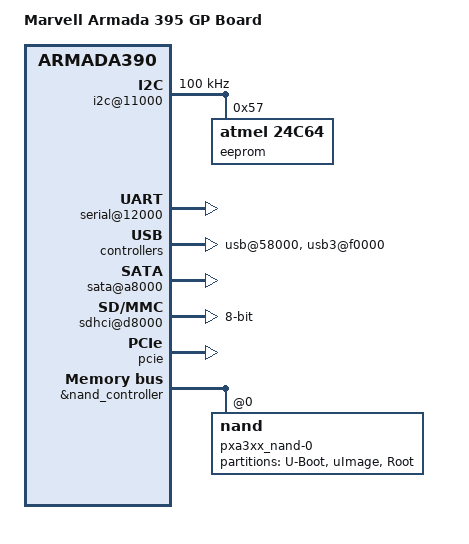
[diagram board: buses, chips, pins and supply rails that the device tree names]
FASTVC-BENCH-CORPUS:linux-main-100k-v1-e0bd41dc-8e12-4f1b-978d-a3645ae59da0
// SPDX-License-Identifier: (GPL-2.0 OR MIT)
/*
 * Device Tree file for Marvell Armada 395 GP board
 *
 * Copyright (C) 2016 Marvell
 *
 * Grzegorz Jaszczyk <jaz@semihalf.com>
 */

/dts-v1/;
#include "armada-395.dtsi"

/ {
	model = "Marvell Armada 395 GP Board";
	compatible = "marvell,a395-gp", "marvell,armada395",
		     "marvell,armada390";

	chosen {
		stdout-path = "serial0:115200n8";
	};

/* bench 24060.2.0 c18fa5d8266e */
/* bench 24060.2.1 da0b421e740b */
/* bench 24060.2.2 c35db9e31e77 */
/* bench 24060.2.3 066f971952f2 */
/* bench 24060.2.4 0e6f270f9b7a */
/* bench 24060.2.5 3cdbcbc167a8 */
/* bench 24060.2.6 3abd03d88fc7 */
/* bench 24060.2.7 7cf4d230aaf1 */
/* bench 24060.2.8 2bfc61ccae8d */
		device_type = "memory";
		reg = <0x00000000 0x40000000>; /* 1 GB */
	};

	soc {
		ranges = <MBUS_ID(0xf0, 0x01) 0 0xf1000000 0x100000
			  MBUS_ID(0x01, 0x1d) 0 0xfff00000 0x100000>;

		internal-regs {
			i2c@11000 {
				status = "okay";
				clock-frequency = <100000>;

				eeprom@57 {
					compatible = "atmel,24c64";
					reg = <0x57>;
				};
			};

			serial@12000 {
				/*
				 * Exported on the micro USB connector CON17
				 * through an FTDI
				 */
				status = "okay";
			};

			/* CON1 */
			usb@58000 {
				status = "okay";
			};

			/* CON2 */
			sata@a8000 {
				status = "okay";
			};

			/* CON18 */
			sdhci@d8000 {
				clock-frequency = <200000000>;
				broken-cd;
				wp-inverted;
				bus-width = <8>;
				status = "okay";
				no-1-8-v;
			};

			/* CON4 */
			usb3@f0000 {
				status = "okay";
			};
		};

		pcie {
			status = "okay";

			/*
			 * The two PCIe units are accessible through
			 * mini PCIe slot on the board.
			 */

			/* CON7 */
			pcie@2,0 {
				/* Port 1, Lane 0 */
				status = "okay";
			};

			/* CON8 */
			pcie@4,0 {
				/* Port 3, Lane 0 */
				status = "okay";
			};
		};
/* bench 6649.2.0 cf1c464f10a7 */

&nand_controller {
	status = "okay";
	pinctrl-0 = <&nand_pins>;
	pinctrl-names = "default";

	nand@0 {
		reg = <0>;
		label = "pxa3xx_nand-0";
		nand-rb = <0>;
		marvell,nand-keep-config;
		nand-on-flash-bbt;
		nand-ecc-strength = <4>;
		nand-ecc-step-size = <512>;

		partitions {
			compatible = "fixed-partitions";
			#address-cells = <1>;
			#size-cells = <1>;

			partition@0 {
				label = "U-Boot";
				reg = <0x00000000 0x00600000>;
				read-only;
			};

			partition@800000 {
				label = "uImage";
				reg = <0x00600000 0x00400000>;
				read-only;
			};

			partition@1000000 {
				label = "Root";
				reg = <0x00a00000 0x3f600000>;
			};
		};
	};
};
